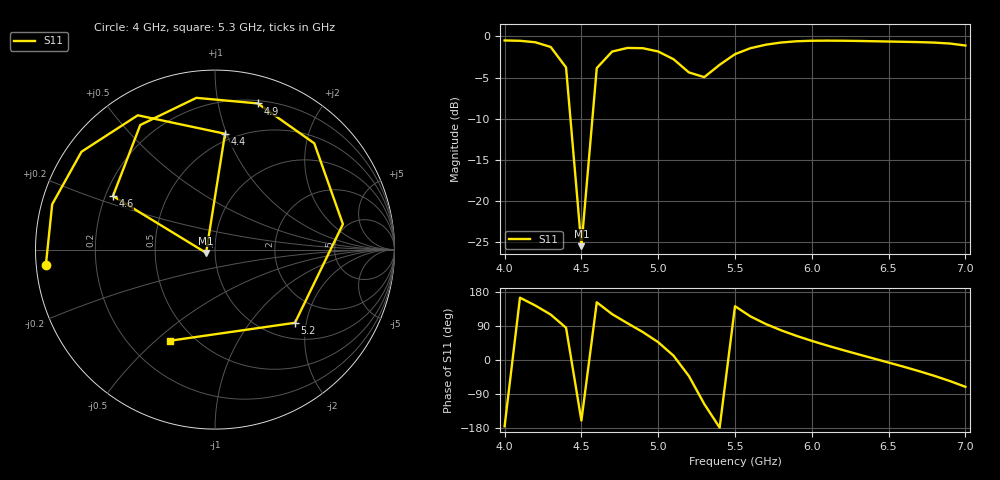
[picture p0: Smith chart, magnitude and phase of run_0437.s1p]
! Touchstone file exported from HFSS 2024.2.0
!  File:  C:/Users/wsak9/Desktop/Sim Fast/Widenad Patch/WP_AI_V1_sweep.aedt
!  Generated:  09:57:08 AM Oct 14, 2026
!  Design:  A1_model
!  Project:  WP_AI_V1_sweep
!  Setup:  Setup1
!  Solution:  Sweep
! Variables:
!  Air_gap = 3.53mm
!  Curve_Amp1 = 3.96
!  Curve_len1 = 1
!  Curve_pos = 12.54mm
!  Extra = 2.33mm
!  H_sub = 0.79mm
!  L_Patch = 21.08mm
!  L_Patch1 = 12.12mm
!  Sx = 0.45mm
!  Sy = 4mm
!  WS = 0.71mm
!  W_Patch = 15.84mm
!  W_Patch1 = 9.79mm
!Data is not renormalized
# GHz S MA
! Terminal data exported
! Port[1] = 1
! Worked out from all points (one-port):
!   31 points, 4 GHz to 7 GHz, reference per port
!   lowest |S11| = -25.6 dB at 4.5 GHz (marker M1), VSWR 1.11
!   |S11| at or under -10 dB: 4.429 GHz to 4.572 GHz (143.1 MHz wide, 3.18 % of centre)
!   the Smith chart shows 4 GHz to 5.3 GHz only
!   S11 on the Smith chart (normalised r, x): 4 GHz: 0.03, -0.04; 4.4 GHz: 0.44, +0.99; 4.6 GHz: 0.23, +0.23; 4.9 GHz: 0.23, +1.31; 5.2 GHz: 1.34, -1.72; 5.3 GHz: 0.37, -0.56
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4  0.9459 -174.9
4.1  0.9416 164.4
4.2  0.9222 143.8
4.3  0.8632 119.9
4.4  0.6478 85.1
4.5  0.05274 -159.9
4.6  0.642 152.3
4.7  0.8095 121.0
4.8  0.8518 97.0
4.9  0.8485 73.7
5  0.8103 47.0
5.1  0.7267 11.3
5.2  0.6039 -42.5
5.3  0.5654 -116.2
5.4  0.6724 -178.4
5.5  0.7802 142.0
5.6  0.8484 115.2
5.7  0.8911 95.0
5.8  0.9189 78.4
5.9  0.9351 63.7
6  0.942 50.5
6.1  0.9435 38.2
6.3  0.9393 15.3
6.5  0.9319 -6.8
6.7  0.924 -29.7
6.8  0.9178 -42.1
6.9  0.9059 -55.7
7  0.8811 -70.7
